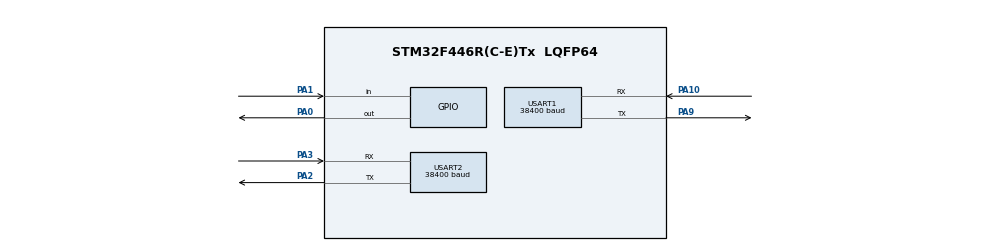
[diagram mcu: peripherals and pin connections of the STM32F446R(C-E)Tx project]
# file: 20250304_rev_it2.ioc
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Mcu.Family=STM32F4
Mcu.Name=STM32F446R(C-E)Tx
Mcu.Package=LQFP64
NVIC.PriorityGroup=NVIC_PRIORITYGROUP_4
NVIC.USART1_IRQn=true\:0\:0\:false\:false\:true\:true\:true\:true
PA0-WKUP.Signal=GPIO_Output
PA1.Signal=GPIO_Input
PA10.Mode=Asynchronous
PA10.Signal=USART1_RX
PA2.Mode=Asynchronous
PA2.Signal=USART2_TX
PA3.Mode=Asynchronous
PA3.Signal=USART2_RX
PA9.Mode=Asynchronous
PA9.Signal=USART1_TX
ProjectManager.HeapSize=0x200
ProjectManager.StackSize=0x400
ProjectManager.TargetToolchain=STM32CubeIDE
RCC.CortexFreq_Value=16000000
RCC.USBFreq_Value=96000000
RCC.VCOOutputFreq_Value=192000000
USART1.BaudRate=38400
USART1.Parity=PARITY_NONE
USART1.VirtualMode=VM_ASYNC
USART2.BaudRate=38400
USART2.VirtualMode=VM_ASYNC
board=custom

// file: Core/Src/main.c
/* USER CODE BEGIN Header */
/**
  ******************************************************************************
  * @file           : main.c
  * @brief          : Main program body
  ******************************************************************************
  * @attention
  *
  * Copyright (c) 2025 STMicroelectronics.
  * All rights reserved.
  *
  * This software is licensed under terms that can be found in the LICENSE file
  * in the root directory of this software component.
  * If no LICENSE file comes with this software, it is provided AS-IS.
  *
  ******************************************************************************
  */
/* USER CODE END Header */
#include "main.h"

/* USER CODE BEGIN Includes */
#include <stdio.h>
#include <stdbool.h>
#include <stdint.h>
/* USER CODE END Includes */

/* USER CODE BEGIN PD */
#define BUFF_SIZE 11
/* USER CODE END PD */

UART_HandleTypeDef huart1;
UART_HandleTypeDef huart2;

void SystemClock_Config(void);
static void MX_GPIO_Init(void);
static void MX_USART1_UART_Init(void);
static void MX_USART2_UART_Init(void);

/* USER CODE BEGIN 0 */
bool revF;
/* USER CODE END 0 */

int main(void)
{

  /* USER CODE BEGIN 1 */
	setbuf(stdout,NULL);
  /* USER CODE END 1 */

  /* MCU Configuration--------------------------------------------------------*/

  /* Reset of all peripherals, Initializes the Flash interface and the Systick. */
  HAL_Init();

  /* Configure the system clock */
  SystemClock_Config();

  /* Initialize all configured peripherals */
  MX_GPIO_Init();
  MX_USART1_UART_Init();
  MX_USART2_UART_Init();
  /* USER CODE BEGIN 2 */
  int revcount = 0;
  uint8_t revdata;
  uint8_t Adata[BUFF_SIZE];

  /* USER CODE END 2 */

  /* Infinite loop */
  while (1)
  {

    /* USER CODE BEGIN 3 */
//	  do{
//		  HAL_UART_Receive_IT(&huart1, Adata + revcount, 1);
		  HAL_UART_Receive_IT(&huart1, Adata, 2);
		  while(revF == false){
			  printf("revF\r\n");
		  }
//		  printf("%2d %02x ",revcount,Adata[revcount]);
		  printf("%02x %02x \r\n",Adata[0],Adata[1]);
		  revF = false;
//		  revcount++;
//	  } while(revcount < BUFF_SIZE);
//	  printf("buf \r\n");
	  revcount = 0;
  }
  /* USER CODE END 3 */
}

void SystemClock_Config(void)
{
  RCC_OscInitTypeDef RCC_OscInitStruct = {0};
  RCC_ClkInitTypeDef RCC_ClkInitStruct = {0};

  /** Configure the main internal regulator output voltage
  */
  __HAL_RCC_PWR_CLK_ENABLE();
  __HAL_PWR_VOLTAGESCALING_CONFIG(PWR_REGULATOR_VOLTAGE_SCALE3);

  /** Initializes the RCC Oscillators according to the specified parameters
  * in the RCC_OscInitTypeDef structure.
  */
  RCC_OscInitStruct.OscillatorType = RCC_OSCILLATORTYPE_HSI;
  RCC_OscInitStruct.HSIState = RCC_HSI_ON;
  RCC_OscInitStruct.HSICalibrationValue = RCC_HSICALIBRATION_DEFAULT;
  RCC_OscInitStruct.PLL.PLLState = RCC_PLL_NONE;
  if (HAL_RCC_OscConfig(&RCC_OscInitStruct) != HAL_OK)
  {
    Error_Handler();
  }

  /** Initializes the CPU, AHB and APB buses clocks
  */
  RCC_ClkInitStruct.ClockType = RCC_CLOCKTYPE_HCLK|RCC_CLOCKTYPE_SYSCLK
                              |RCC_CLOCKTYPE_PCLK1|RCC_CLOCKTYPE_PCLK2;
  RCC_ClkInitStruct.SYSCLKSource = RCC_SYSCLKSOURCE_HSI;
  RCC_ClkInitStruct.AHBCLKDivider = RCC_SYSCLK_DIV1;
  RCC_ClkInitStruct.APB1CLKDivider = RCC_HCLK_DIV1;
  RCC_ClkInitStruct.APB2CLKDivider = RCC_HCLK_DIV1;

  if (HAL_RCC_ClockConfig(&RCC_ClkInitStruct, FLASH_LATENCY_0) != HAL_OK)
  {
    Error_Handler();
  }
}

static void MX_USART1_UART_Init(void)
{

  huart1.Instance = USART1;
  huart1.Init.BaudRate = 38400;
  huart1.Init.WordLength = UART_WORDLENGTH_8B;
  huart1.Init.StopBits = UART_STOPBITS_1;
  huart1.Init.Parity = UART_PARITY_NONE;
  huart1.Init.Mode = UART_MODE_TX_RX;
  huart1.Init.HwFlowCtl = UART_HWCONTROL_NONE;
  huart1.Init.OverSampling = UART_OVERSAMPLING_16;
  if (HAL_UART_Init(&huart1) != HAL_OK)
  {
    Error_Handler();
  }

}

static void MX_USART2_UART_Init(void)
{

  huart2.Instance = USART2;
  huart2.Init.BaudRate = 38400;
  huart2.Init.WordLength = UART_WORDLENGTH_8B;
  huart2.Init.StopBits = UART_STOPBITS_1;
  huart2.Init.Parity = UART_PARITY_NONE;
  huart2.Init.Mode = UART_MODE_TX_RX;
  huart2.Init.HwFlowCtl = UART_HWCONTROL_NONE;
  huart2.Init.OverSampling = UART_OVERSAMPLING_16;
  if (HAL_UART_Init(&huart2) != HAL_OK)
  {
    Error_Handler();
  }

}

static void MX_GPIO_Init(void)
{
  GPIO_InitTypeDef GPIO_InitStruct = {0};

  /* GPIO Ports Clock Enable */
  __HAL_RCC_GPIOA_CLK_ENABLE();

  /*Configure GPIO pin Output Level */
  HAL_GPIO_WritePin(GPIOA, GPIO_PIN_0, GPIO_PIN_RESET);

  /*Configure GPIO pin : PA0 */
  GPIO_InitStruct.Pin = GPIO_PIN_0;
  GPIO_InitStruct.Mode = GPIO_MODE_OUTPUT_PP;
  GPIO_InitStruct.Pull = GPIO_NOPULL;
  GPIO_InitStruct.Speed = GPIO_SPEED_FREQ_LOW;
  HAL_GPIO_Init(GPIOA, &GPIO_InitStruct);

  /*Configure GPIO pin : PA1 */
  GPIO_InitStruct.Pin = GPIO_PIN_1;
  GPIO_InitStruct.Mode = GPIO_MODE_INPUT;
  GPIO_InitStruct.Pull = GPIO_NOPULL;
  HAL_GPIO_Init(GPIOA, &GPIO_InitStruct);

}

/* USER CODE BEGIN 4 */
int _write(int file,char *ptr,int len){
	HAL_UART_Transmit(&huart2, (uint8_t*)ptr, len, 10);
	return len;
}

void HAL_UART_RxCpltCallback(UART_HandleTypeDef *huart){
	revF = true;
}
/* USER CODE END 4 */

void Error_Handler(void)
{
  __disable_irq();
  while (1)
  {
  }
}
